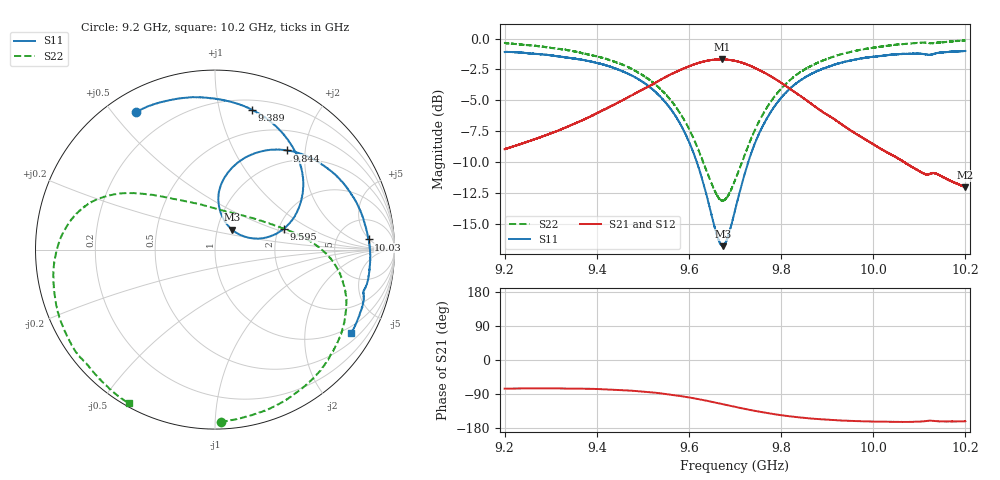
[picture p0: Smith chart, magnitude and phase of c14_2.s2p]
!Agilent Technologies,N5242A,MY51221714,A.09.90.19
!Agilent N5242A: A.09.90.19
!Date: Saturday, March 16, 2024 10:28:12
!Correction: S11(Full 2 Port(1,2))
!S21(Full 2 Port(1,2))
!S12(Full 2 Port(1,2))
!S22(Full 2 Port(1,2))
!S2P File: Measurements: S11, S21, S12, S22:
# Hz S  dB  R 50
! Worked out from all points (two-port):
!   16001 points, 9.2 GHz to 10.2 GHz, reference 50 ohm
!   highest |S21| = -1.68 dB at 9.672 GHz (marker M1); lowest = -12.0 dB at 10.2 GHz (marker M2)
!   |S21| within 3 dB of the highest: 9.472 GHz to 9.843 GHz (371.5 MHz wide, 3.85 % of centre); 9.843063 GHz to 9.843409 GHz (346.2 kHz wide, 0.00352 % of centre)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
!   lowest |S11| = -16.8 dB at 9.673 GHz (marker M3), VSWR 1.34, Z = 58.7 + j13.3 ohm
!   |S11| at or under -10 dB: 9.617 GHz to 9.729 GHz (111.2 MHz wide, 1.15 % of centre)
!   |S22| runs from -13.1 to -0.2 dB; largest |S21 - S12| = 0.01
!   S11 on the Smith chart (normalised r, x): 9.2 GHz: 0.08, +0.57; 9.389 GHz: 0.28, +1.26; 9.595 GHz: 2.14, +0.60; 9.844 GHz: 0.80, +1.66; 10.03 GHz: 11, +5; 10.2 GHz: 0.76, -3.38
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9.2e9  -1.09 120.0  -8.94 -75.6  -8.93 -76.2  -0.35 -88.1
9.277562e9  -1.27 102.3  -7.97 -74.9  -7.96 -75.3  -0.64 -66.6
9.366688e9  -1.71 80.9  -6.64 -75.6  -6.60 -76.1  -1.16 -43.0
9.389312e9  -1.88 75.1  -6.23 -76.2  -6.22 -76.7  -1.35 -37.1
9.461e9  -2.72 55.7  -4.87 -79.9  -4.88 -80.5  -2.19 -20.0
9.533375e9  -4.53 34.3  -3.44 -87.2  -3.43 -87.7  -3.90 -3.7
9.59475e9  -7.90 16.9  -2.33 -97.6  -2.32 -98.2  -6.92 12.1
9.63475e9  -12.15 14.3  -1.84 -106.7  -1.83 -107.2  -10.35 31.7
9.671875e9  -16.66 47.5  -1.68 -116.1  -1.68 -116.6  -13.11 73.3
9.673375e9  -16.76 49.8  -1.69 -116.5  -1.68 -117.0  -13.07 75.6
9.7e9  -13.88 80.3  -1.80 -123.5  -1.78 -124.1  -11.45 109.2
9.729625e9  -9.89 86.1  -2.15 -131.1  -2.14 -131.7  -8.59 130.0
9.76e9  -7.08 79.9  -2.68 -137.9  -2.67 -138.5  -6.17 141.2
9.801688e9  -4.72 67.5  -3.61 -145.8  -3.62 -146.4  -3.98 150.7
9.844438e9  -3.32 54.1  -4.70 -152.0  -4.70 -152.6  -2.64 158.9
9.866688e9  -2.84 47.4  -5.31 -154.6  -5.29 -155.1  -2.17 163.2
9.9505e9  -1.78 23.9  -7.40 -160.8  -7.41 -161.2  -1.09 -179.7
1.003269e10  -1.33 3.8  -9.24 -162.9  -9.24 -163.6  -0.57 -160.9
1.003338e10  -1.34 3.5  -9.26 -163.0  -9.26 -163.5  -0.57 -160.7
1.01095e10  -1.26 -13.7  -10.90 -161.9  -10.90 -162.3  -0.33 -142.7
1.019962e10  -1.02 -31.4  -12.00 -161.8  -11.99 -162.5  -0.16 -119.5
1.02e10  -1.01 -31.6  -12.00 -161.8  -11.99 -162.4  -0.16 -119.4
